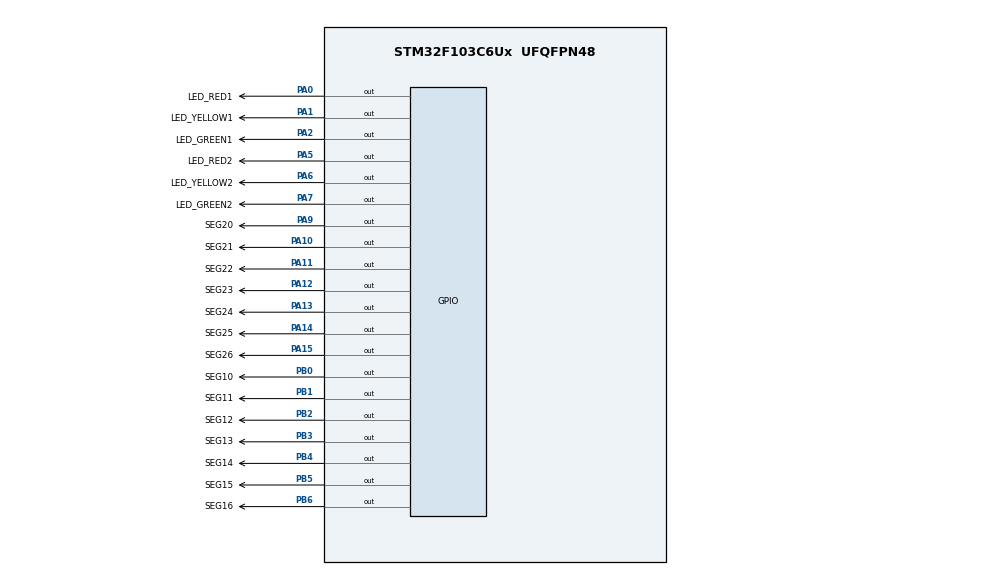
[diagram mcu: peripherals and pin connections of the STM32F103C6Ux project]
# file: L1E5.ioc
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Mcu.Family=STM32F1
Mcu.Name=STM32F103C6Ux
Mcu.Package=UFQFPN48
NVIC.PriorityGroup=NVIC_PRIORITYGROUP_4
PA0-WKUP.GPIO_Label=LED_RED1
PA0-WKUP.Signal=GPIO_Output
PA1.GPIO_Label=LED_YELLOW1
PA1.Signal=GPIO_Output
PA10.GPIO_Label=SEG21
PA10.Signal=GPIO_Output
PA11.GPIO_Label=SEG22
PA11.Signal=GPIO_Output
PA12.GPIO_Label=SEG23
PA12.Signal=GPIO_Output
PA13.GPIO_Label=SEG24
PA13.Signal=GPIO_Output
PA14.GPIO_Label=SEG25
PA14.Signal=GPIO_Output
PA15.GPIO_Label=SEG26
PA15.Signal=GPIO_Output
PA2.GPIO_Label=LED_GREEN1
PA2.Signal=GPIO_Output
PA5.GPIO_Label=LED_RED2
PA5.Signal=GPIO_Output
PA6.GPIO_Label=LED_YELLOW2
PA6.Signal=GPIO_Output
PA7.GPIO_Label=LED_GREEN2
PA7.Signal=GPIO_Output
PA9.GPIO_Label=SEG20
PA9.Signal=GPIO_Output
PB0.GPIO_Label=SEG10
PB0.Signal=GPIO_Output
PB1.GPIO_Label=SEG11
PB1.Signal=GPIO_Output
PB2.GPIO_Label=SEG12
PB2.Signal=GPIO_Output
PB3.GPIO_Label=SEG13
PB3.Signal=GPIO_Output
PB4.GPIO_Label=SEG14
PB4.Signal=GPIO_Output
PB5.GPIO_Label=SEG15
PB5.Signal=GPIO_Output
PB6.GPIO_Label=SEG16
PB6.Signal=GPIO_Output
ProjectManager.HeapSize=0x200
ProjectManager.StackSize=0x400
ProjectManager.TargetToolchain=STM32CubeIDE
RCC.APB1Freq_Value=8000000
RCC.APB2Freq_Value=8000000
VP_SYS_VS_ND.Mode=No_Debug
board=custom

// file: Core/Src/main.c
/* USER CODE BEGIN Header */
/**
  ******************************************************************************
  * @file           : main.c
  * @brief          : Main program body
  ******************************************************************************
  * @attention
  *
  * <h2><center>&copy; Copyright (c) 2023 STMicroelectronics.
  * All rights reserved.</center></h2>
  *
  * This software component is licensed by ST under BSD 3-Clause license,
  * the "License"; You may not use this file except in compliance with the
  * License. You may obtain a copy of the License at:
  *                        opensource.org/licenses/BSD-3-Clause
  *
  ******************************************************************************
  */
/* USER CODE END Header */
#include "main.h"

void SystemClock_Config(void);
static void MX_GPIO_Init(void);
/* USER CODE BEGIN PFP */
void display7SEG1(int);
void display7SEG2(int);
/* USER CODE END PFP */

int main(void)
{

  /* MCU Configuration--------------------------------------------------------*/

  /* Reset of all peripherals, Initializes the Flash interface and the Systick. */
  HAL_Init();

  /* Configure the system clock */
  SystemClock_Config();

  /* Initialize all configured peripherals */
  MX_GPIO_Init();

  /* Infinite loop */
  /* USER CODE BEGIN WHILE */
  int duration1 = 0, duration2 = 0;
  int ledR1 = 0, ledY1 = 0, ledG1 = 0,
    		  ledR2 = 0, ledY2 = 0, ledG2 = 0;
  int counter1 = 0, counter2 = 0;

  while (1)
  {
    /* USER CODE END WHILE */
	  if (!duration1){ // 1ST DIRECTION LIGHTS
	     		  /* CURRENT IS RED, ABOUT TO TURN GREEN */
	     	  		if (ledR1 && !ledG1 && !ledY1){
	     	  			HAL_GPIO_WritePin(GPIOA , LED_RED1_Pin, GPIO_PIN_SET);
	     	  			HAL_GPIO_WritePin(GPIOA , LED_GREEN1_Pin, GPIO_PIN_RESET);
	     	  			ledR1 = 0; ledG1 = 1; ledY1 = 0;
	     	  			duration1 = 3;
	     	  			counter1 = 2;
	     	  		}

	          /* CURRENT IS GREEN, ABOUT TO TURN YELLOW */
	     	  		else if (!ledR1 && ledG1 && !ledY1){
	     		  		HAL_GPIO_WritePin(GPIOA , LED_GREEN1_Pin, GPIO_PIN_SET);
	     				HAL_GPIO_WritePin(GPIOA , LED_YELLOW1_Pin, GPIO_PIN_RESET);
	     	  			ledR1 = 0; ledG1 = 0; ledY1 = 1;
	     	  			duration1 = 2;
	     	  			counter1 = 1;
	     	  		}

	     	  		/* CURRENT IS YELLOW, ABOUT TO TURN RED */
	     	  		else if (!ledR1 && !ledG1 && ledY1){
	     	  			HAL_GPIO_WritePin(GPIOA , LED_RED1_Pin, GPIO_PIN_RESET);
	     	  			HAL_GPIO_WritePin(GPIOA , LED_YELLOW1_Pin, GPIO_PIN_SET);
	     	  			ledR1 = 1; ledG1 = 0; ledY1 = 0;
	     	  			duration1 = 5;
	     	  			counter1 = 4;
	     	  		}

	     	  		else{
	     	  			HAL_GPIO_WritePin(GPIOA , LED_RED1_Pin, GPIO_PIN_RESET);
	     	  			HAL_GPIO_WritePin(GPIOA , LED_GREEN1_Pin, GPIO_PIN_SET);
	     	  			HAL_GPIO_WritePin(GPIOA , LED_YELLOW1_Pin, GPIO_PIN_SET);
	     	  			ledR1 = 1; ledG1 = 0; ledY1 = 0;
	     	  			duration1 = 5;
	     	  			counter1 = 4;
	     	  		}
	     	  	}
	  	  	duration1--;

	     	  if (!duration2){  // 2ND DIRECTION LIGHTS
	     		  /* CURRENT IS RED, ABOUT TO TURN GREEN */
	    	  		if (ledR2 && !ledG2 && !ledY2){
	     	  			HAL_GPIO_WritePin(GPIOA , LED_RED2_Pin, GPIO_PIN_SET);
	     	  			HAL_GPIO_WritePin(GPIOA , LED_GREEN2_Pin, GPIO_PIN_RESET);
	     	  			ledR2 = 0; ledG2 = 1; ledY2 = 0;
	     	  			duration2 = 3;
	     	  			counter2 = 2;
	     	  		}

	     	  		/* CURRENT IS GREEN, ABOUT TO TURN YELLOW */
	     	  		else if (!ledR2 && ledG2 && !ledY2){
	     		  		HAL_GPIO_WritePin(GPIOA , LED_GREEN2_Pin, GPIO_PIN_SET);
	     				HAL_GPIO_WritePin(GPIOA , LED_YELLOW2_Pin, GPIO_PIN_RESET);
	     	  			ledR2 = 0; ledG2 = 0; ledY2 = 1;
	     	  			duration2 = 2;
	     	  			counter2 = 1;
	     	  		}

	     	  		/* CURRENT IS YELLOW, ABOUT TO TURN RED */
	     	  		else if (!ledR2 && !ledG2 && ledY2){
	     	  			HAL_GPIO_WritePin(GPIOA , LED_RED2_Pin, GPIO_PIN_RESET);
	     	  			HAL_GPIO_WritePin(GPIOA , LED_YELLOW2_Pin, GPIO_PIN_SET);
	     	  			ledR2 = 1; ledG2 = 0; ledY2 = 0;
	     	  			duration2 = 5;
	     	  			counter2 = 4;
	     	  		}

	     	  		else{
	     	  			HAL_GPIO_WritePin(GPIOA , LED_RED2_Pin, GPIO_PIN_SET);
	     	  			HAL_GPIO_WritePin(GPIOA , LED_GREEN2_Pin, GPIO_PIN_RESET);
	     	  			HAL_GPIO_WritePin(GPIOA , LED_YELLOW2_Pin, GPIO_PIN_SET);
	     	  			ledR2 = 0; ledG2 = 1; ledY2 = 0;
	     	  			duration2 = 3;
	     	  			counter2 = 2;
	     	  		}
	     	  	}
	     	  	duration2--;

	     	  	if (counter1 < 0) counter1 = 0;
	     	  	if (counter2 < 0) counter2 = 0;
	     	  	display7SEG1(counter1--);
	     	  	display7SEG2(counter2--);

	     	  	HAL_Delay(1000);
  }
}

void SystemClock_Config(void)
{
  RCC_OscInitTypeDef RCC_OscInitStruct = {0};
  RCC_ClkInitTypeDef RCC_ClkInitStruct = {0};

  /** Initializes the RCC Oscillators according to the specified parameters
  * in the RCC_OscInitTypeDef structure.
  */
  RCC_OscInitStruct.OscillatorType = RCC_OSCILLATORTYPE_HSI;
  RCC_OscInitStruct.HSIState = RCC_HSI_ON;
  RCC_OscInitStruct.HSICalibrationValue = RCC_HSICALIBRATION_DEFAULT;
  RCC_OscInitStruct.PLL.PLLState = RCC_PLL_NONE;
  if (HAL_RCC_OscConfig(&RCC_OscInitStruct) != HAL_OK)
  {
    Error_Handler();
  }
  /** Initializes the CPU, AHB and APB buses clocks
  */
  RCC_ClkInitStruct.ClockType = RCC_CLOCKTYPE_HCLK|RCC_CLOCKTYPE_SYSCLK
                              |RCC_CLOCKTYPE_PCLK1|RCC_CLOCKTYPE_PCLK2;
  RCC_ClkInitStruct.SYSCLKSource = RCC_SYSCLKSOURCE_HSI;
  RCC_ClkInitStruct.AHBCLKDivider = RCC_SYSCLK_DIV1;
  RCC_ClkInitStruct.APB1CLKDivider = RCC_HCLK_DIV1;
  RCC_ClkInitStruct.APB2CLKDivider = RCC_HCLK_DIV1;

  if (HAL_RCC_ClockConfig(&RCC_ClkInitStruct, FLASH_LATENCY_0) != HAL_OK)
  {
    Error_Handler();
  }
}

static void MX_GPIO_Init(void)
{
  GPIO_InitTypeDef GPIO_InitStruct = {0};

  /* GPIO Ports Clock Enable */
  __HAL_RCC_GPIOA_CLK_ENABLE();
  __HAL_RCC_GPIOB_CLK_ENABLE();

  /*Configure GPIO pin Output Level */
  HAL_GPIO_WritePin(GPIOA, LED_RED1_Pin|LED_YELLOW1_Pin|LED_GREEN1_Pin|LED_RED2_Pin
                          |LED_YELLOW2_Pin|LED_GREEN2_Pin|SEG20_Pin|SEG21_Pin
                          |SEG22_Pin|SEG23_Pin|SEG24_Pin|SEG25_Pin
                          |SEG26_Pin, GPIO_PIN_RESET);

  /*Configure GPIO pin Output Level */
  HAL_GPIO_WritePin(GPIOB, SEG10_Pin|SEG11_Pin|SEG12_Pin|SEG13_Pin
                          |SEG14_Pin|SEG15_Pin|SEG16_Pin, GPIO_PIN_RESET);

  /*Configure GPIO pins : LED_RED1_Pin LED_YELLOW1_Pin LED_GREEN1_Pin LED_RED2_Pin
                           LED_YELLOW2_Pin LED_GREEN2_Pin SEG20_Pin SEG21_Pin
                           SEG22_Pin SEG23_Pin SEG24_Pin SEG25_Pin
                           SEG26_Pin */
  GPIO_InitStruct.Pin = LED_RED1_Pin|LED_YELLOW1_Pin|LED_GREEN1_Pin|LED_RED2_Pin
                          |LED_YELLOW2_Pin|LED_GREEN2_Pin|SEG20_Pin|SEG21_Pin
                          |SEG22_Pin|SEG23_Pin|SEG24_Pin|SEG25_Pin
                          |SEG26_Pin;
  GPIO_InitStruct.Mode = GPIO_MODE_OUTPUT_PP;
  GPIO_InitStruct.Pull = GPIO_NOPULL;
  GPIO_InitStruct.Speed = GPIO_SPEED_FREQ_LOW;
  HAL_GPIO_Init(GPIOA, &GPIO_InitStruct);

  /*Configure GPIO pins : SEG10_Pin SEG11_Pin SEG12_Pin SEG13_Pin
                           SEG14_Pin SEG15_Pin SEG16_Pin */
  GPIO_InitStruct.Pin = SEG10_Pin|SEG11_Pin|SEG12_Pin|SEG13_Pin
                          |SEG14_Pin|SEG15_Pin|SEG16_Pin;
  GPIO_InitStruct.Mode = GPIO_MODE_OUTPUT_PP;
  GPIO_InitStruct.Pull = GPIO_NOPULL;
  GPIO_InitStruct.Speed = GPIO_SPEED_FREQ_LOW;
  HAL_GPIO_Init(GPIOB, &GPIO_InitStruct);

}

/* USER CODE BEGIN 4 */
void display7SEG2(int counter){
	switch (counter){
		case 0:
			HAL_GPIO_WritePin(GPIOB , SEG10_Pin | SEG11_Pin | SEG12_Pin | SEG13_Pin |
							  SEG14_Pin | SEG15_Pin , GPIO_PIN_RESET);
			HAL_GPIO_WritePin(GPIOB , SEG16_Pin , GPIO_PIN_SET);
			break;

		case 1:
			HAL_GPIO_WritePin(GPIOB , SEG11_Pin | SEG12_Pin , GPIO_PIN_RESET);
			HAL_GPIO_WritePin(GPIOB , SEG10_Pin | SEG13_Pin | SEG14_Pin | SEG15_Pin | SEG16_Pin , GPIO_PIN_SET);
			break;

		case 2:
			HAL_GPIO_WritePin(GPIOB , SEG10_Pin | SEG11_Pin | SEG13_Pin | SEG14_Pin | SEG16_Pin , GPIO_PIN_RESET);
			HAL_GPIO_WritePin(GPIOB , SEG12_Pin | SEG15_Pin , GPIO_PIN_SET);
			break;

		case 3:
			HAL_GPIO_WritePin(GPIOB , SEG10_Pin | SEG11_Pin | SEG12_Pin | SEG13_Pin | SEG16_Pin , GPIO_PIN_RESET);
			HAL_GPIO_WritePin(GPIOB , SEG14_Pin | SEG15_Pin , GPIO_PIN_SET);
			break;

		case 4:
			HAL_GPIO_WritePin(GPIOB , SEG11_Pin | SEG12_Pin | SEG15_Pin | SEG16_Pin , GPIO_PIN_RESET);
			HAL_GPIO_WritePin(GPIOB , SEG10_Pin | SEG13_Pin | SEG14_Pin , GPIO_PIN_SET);
			break;

		case 5:
			HAL_GPIO_WritePin(GPIOB , SEG10_Pin | SEG12_Pin | SEG13_Pin | SEG15_Pin | SEG16_Pin , GPIO_PIN_RESET);
			HAL_GPIO_WritePin(GPIOB , SEG11_Pin | SEG14_Pin , GPIO_PIN_SET);
			break;

		case 6:
			HAL_GPIO_WritePin(GPIOB , SEG10_Pin | SEG12_Pin | SEG13_Pin | SEG14_Pin |
							  SEG15_Pin | SEG16_Pin , GPIO_PIN_RESET);
			HAL_GPIO_WritePin(GPIOB , SEG11_Pin , GPIO_PIN_SET);
			break;

		case 7:
			HAL_GPIO_WritePin(GPIOB , SEG10_Pin | SEG11_Pin | SEG12_Pin , GPIO_PIN_RESET);
			HAL_GPIO_WritePin(GPIOB , SEG13_Pin | SEG14_Pin | SEG15_Pin | SEG16_Pin , GPIO_PIN_SET);
			break;

		case 8:
			HAL_GPIO_WritePin(GPIOB , SEG10_Pin | SEG11_Pin | SEG12_Pin | SEG13_Pin |
							  SEG14_Pin | SEG15_Pin | SEG16_Pin , GPIO_PIN_RESET);
			break;

		case 9:
			HAL_GPIO_WritePin(GPIOB , SEG10_Pin | SEG11_Pin | SEG12_Pin | SEG13_Pin |
							  SEG15_Pin | SEG16_Pin , GPIO_PIN_RESET);
			HAL_GPIO_WritePin(GPIOB , SEG14_Pin , GPIO_PIN_SET);
			break;

		default:
			HAL_GPIO_WritePin(GPIOB , SEG10_Pin | SEG11_Pin | SEG12_Pin | SEG13_Pin |
										  SEG14_Pin | SEG15_Pin | SEG16_Pin , GPIO_PIN_SET);
			break;
	}
}

void display7SEG1(int counter){
	switch (counter){
		case 0:
			HAL_GPIO_WritePin(GPIOA , SEG20_Pin | SEG21_Pin | SEG22_Pin | SEG23_Pin |
							  SEG24_Pin | SEG25_Pin , GPIO_PIN_RESET);
			HAL_GPIO_WritePin(GPIOA , SEG26_Pin , GPIO_PIN_SET);
			break;

		case 1:
			HAL_GPIO_WritePin(GPIOA , SEG21_Pin | SEG22_Pin , GPIO_PIN_RESET);
			HAL_GPIO_WritePin(GPIOA , SEG20_Pin | SEG23_Pin | SEG24_Pin | SEG25_Pin | SEG26_Pin , GPIO_PIN_SET);
			break;

		case 2:
			HAL_GPIO_WritePin(GPIOA , SEG20_Pin | SEG21_Pin | SEG23_Pin | SEG24_Pin | SEG26_Pin , GPIO_PIN_RESET);
			HAL_GPIO_WritePin(GPIOA , SEG22_Pin | SEG25_Pin , GPIO_PIN_SET);
			break;

		case 3:
			HAL_GPIO_WritePin(GPIOA , SEG20_Pin | SEG21_Pin | SEG22_Pin | SEG23_Pin | SEG26_Pin , GPIO_PIN_RESET);
			HAL_GPIO_WritePin(GPIOA , SEG24_Pin | SEG25_Pin , GPIO_PIN_SET);
			break;

		case 4:
			HAL_GPIO_WritePin(GPIOA , SEG21_Pin | SEG22_Pin | SEG25_Pin | SEG26_Pin , GPIO_PIN_RESET);
			HAL_GPIO_WritePin(GPIOA , SEG20_Pin | SEG23_Pin | SEG24_Pin , GPIO_PIN_SET);
			break;

		case 5:
			HAL_GPIO_WritePin(GPIOA , SEG20_Pin | SEG22_Pin | SEG23_Pin | SEG25_Pin | SEG26_Pin , GPIO_PIN_RESET);
			HAL_GPIO_WritePin(GPIOA , SEG21_Pin | SEG24_Pin , GPIO_PIN_SET);
			break;

		case 6:
			HAL_GPIO_WritePin(GPIOA , SEG20_Pin | SEG22_Pin | SEG23_Pin | SEG24_Pin |
							  SEG25_Pin | SEG26_Pin , GPIO_PIN_RESET);
			HAL_GPIO_WritePin(GPIOA , SEG21_Pin , GPIO_PIN_SET);
			break;

		case 7:
			HAL_GPIO_WritePin(GPIOA , SEG20_Pin | SEG21_Pin | SEG22_Pin , GPIO_PIN_RESET);
			HAL_GPIO_WritePin(GPIOA , SEG23_Pin | SEG24_Pin | SEG25_Pin | SEG26_Pin , GPIO_PIN_SET);
			break;

		case 8:
			HAL_GPIO_WritePin(GPIOA , SEG20_Pin | SEG21_Pin | SEG22_Pin | SEG23_Pin |
							  SEG24_Pin | SEG25_Pin | SEG26_Pin , GPIO_PIN_RESET);
			break;

		case 9:
			HAL_GPIO_WritePin(GPIOA , SEG20_Pin | SEG21_Pin | SEG22_Pin | SEG23_Pin |
							  SEG25_Pin | SEG26_Pin , GPIO_PIN_RESET);
			HAL_GPIO_WritePin(GPIOA , SEG24_Pin , GPIO_PIN_SET);
			break;

		default:
			HAL_GPIO_WritePin(GPIOA , SEG20_Pin | SEG21_Pin | SEG22_Pin | SEG23_Pin |
										  SEG24_Pin | SEG25_Pin | SEG26_Pin , GPIO_PIN_SET);
			break;
	}
}

/* USER CODE END 4 */

void Error_Handler(void)
{
  __disable_irq();
  while (1)
  {
  }
}

/************************ (C) COPYRIGHT STMicroelectronics *****END OF FILE****/
